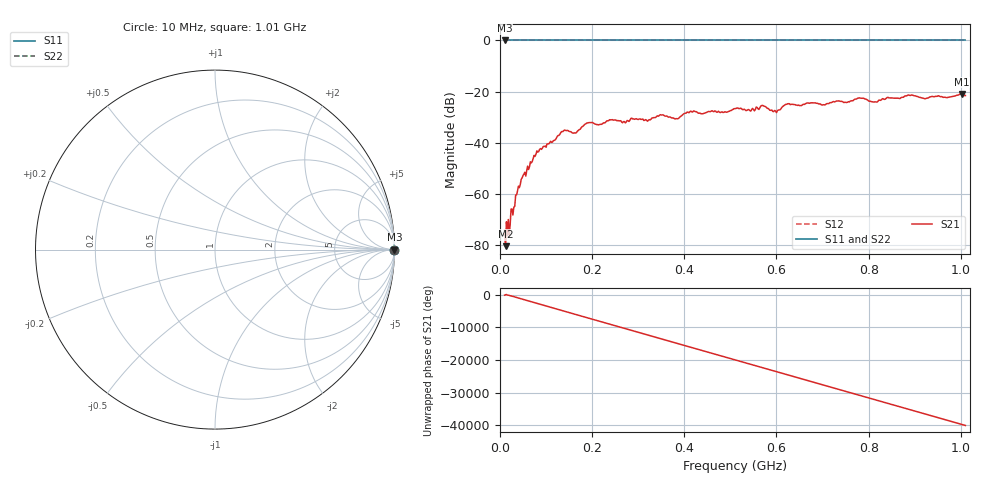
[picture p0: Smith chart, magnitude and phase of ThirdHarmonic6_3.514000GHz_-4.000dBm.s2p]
! 8/17/2025 11:30:27 AM
! C:\ANRITSUVNA\TEMP\TEMP.S2P
! CHANNEL.1
! TR.MEASUREMENT
! RAW.DATA
! RF.CORRECTION.OFF
! AVERAGING.OFF
! IF.BANDWIDTH: 5KHZ
! SWEEPTYPE:  FREQ.SWEEP(Linear)
! Reference Plane Port Info
! PORT:  PORT1  PORT2
! DISTANCE:  0  m  0  m
! TIME:  0  s  0  s
! PHASE.OFFSET:  0  deg.  0  deg.
! LOSS:  0  dB  0  dB
! REF.LOSS:  0  dB  0  dB
! REF.FREQ:  0  Hz  0  Hz
! Power Info
! POWER:  -20  dBm  -20  dBm
! EFF.POWER:  -20  dBm  -20  dBm
! SOURCE.ATTEN:  0  dB  0  dB
! TEST.ATTEN:  0  dB  0  dB
# GHZ S RI R 50.0
! FREQ.GHZ  S11RE  S11IM  S21RE  S21IM  S12RE  S12IM  S22RE  S22IM
!; PortSelection: Port_12
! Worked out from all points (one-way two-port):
!   501 points, 10 MHz to 1.01 GHz, reference 50 ohm
!   highest |S21| = -20.96 dB at 1.002 GHz (marker M1); lowest = -80.5 dB at 12 MHz (marker M2)
!   lowest |S11| = 0.0 dB at 10 MHz (marker M3)
!   |S11| at or under -10 dB: nowhere
!   |S22| runs from 0.0 to 0.0 dB; largest |S21 - S12| = 1.1
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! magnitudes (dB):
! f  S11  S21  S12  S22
! 10 MHz  0.0  -74.3  0.0  0.0
! 12 MHz  0.0  -80.5  0.0  0.0
! 16 MHz  0.0  -76.4  0.0  0.0
! 38 MHz  0.0  -58.9  0.0  0.0
! 50 MHz  0.0  -52.8  0.0  0.0
! 76 MHz  0.0  -45.4  0.0  0.0
! 136 MHz  0.0  -35.7  0.0  0.0
! 162 MHz  0.0  -36.2  0.0  0.0
! 178 MHz  0.0  -33.8  0.0  0.0
! 192 MHz  0.0  -32.2  0.0  0.0
! 322 MHz  0.0  -31.2  0.0  0.0
! 344 MHz  0.0  -29.6  0.0  0.0
! 384 MHz  0.0  -30.6  0.0  0.0
! 410 MHz  0.0  -28.3  0.0  0.0
! 510 MHz  0.0  -26.7  0.0  0.0
! 570 MHz  0.0  -25.4  0.0  0.0
! 596 MHz  0.0  -27.4  0.0  0.0
! 624 MHz  0.0  -24.8  0.0  0.0
! 678 MHz  0.0  -24.4  0.0  0.0
! 844 MHz  0.0  -22.5  0.0  0.0
! 1.002 GHz  0.0  -21.0  0.0  0.0
! 1.01 GHz  0.0  -21.5  0.0  0.0
